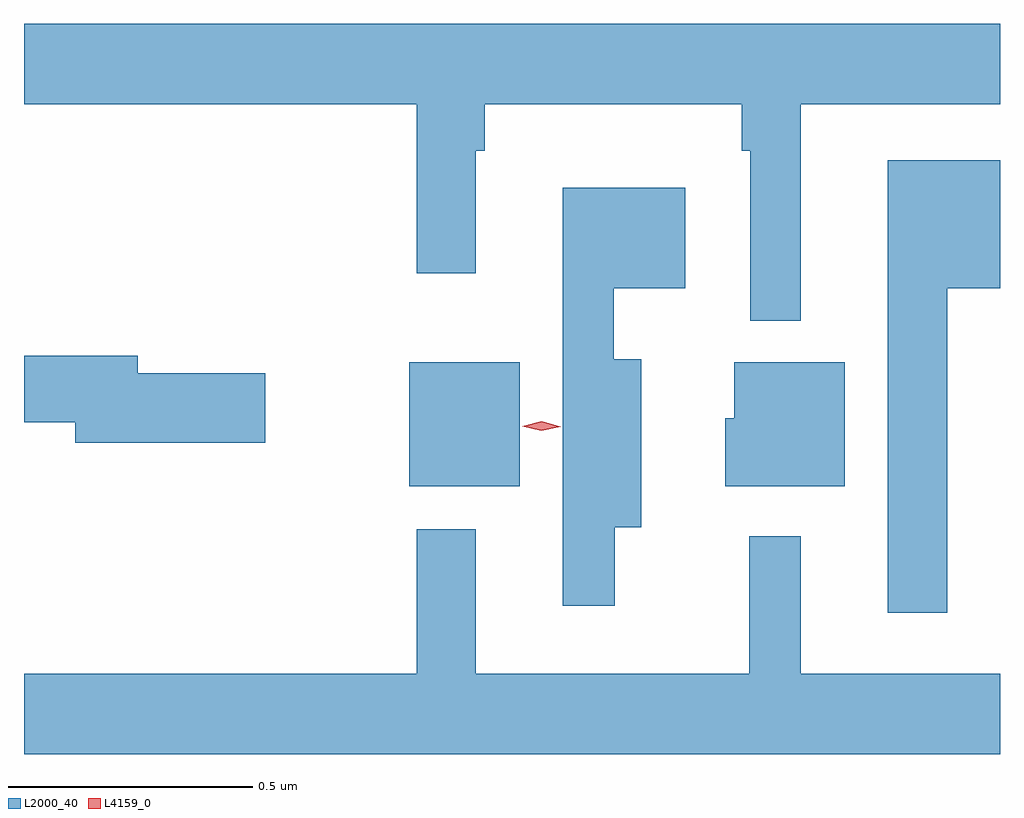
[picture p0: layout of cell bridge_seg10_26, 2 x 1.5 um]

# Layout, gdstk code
import gdstk
lib = gdstk.Library(unit=1e-6, precision=1e-09)
def R(c, l, rs):  # rectangles x0, y0, x1, y1
    for r in rs: c.add(gdstk.rectangle(r[:2], r[2:], *l))
def P(c, l, *ps):  # polygons
    for p in ps: c.add(gdstk.Polygon(p, *l))
L2000_40 = (2000, 40)
L4159_0 = (4159, 0)

bridge_seg10_26 = lib.new_cell('bridge_seg10_26')
R(bridge_seg10_26, L2000_40, [(957.236,1286.213,957.463,1286.467)])
P(bridge_seg10_26, L2000_40, [(958.039,1286.996),(958.447,1286.996),(958.447,1287.16),(956.447,1287.16),(956.447,1286.996),(957.252,1286.996),(957.252,1286.649),(957.373,1286.649),(957.373,1286.9),(957.391,1286.9),(957.391,1286.996),(957.918,1286.996),(957.918,1286.9),(957.935,1286.9),(957.935,1286.552),(958.039,1286.552)],
  [(958.339,1286.618),(958.447,1286.618),(958.447,1286.881),(958.217,1286.881),(958.217,1285.953),(958.339,1285.953)],
  [(957.658,1286.129),(957.712,1286.129),(957.712,1286.473),(957.655,1286.473),(957.655,1286.618),(957.802,1286.618),(957.802,1286.824),(957.551,1286.824),(957.551,1285.968),(957.658,1285.968)],
  [(956.941,1286.444),(956.68,1286.444),(956.68,1286.48),(956.447,1286.48),(956.447,1286.344),(956.552,1286.344),(956.552,1286.302),(956.941,1286.302)],
  [(958.129,1286.467),(957.902,1286.467),(957.902,1286.352),(957.884,1286.352),(957.884,1286.213),(958.129,1286.213)],
  [(958.447,1285.828),(958.039,1285.828),(958.039,1286.11),(957.933,1286.11),(957.933,1285.828),(957.373,1285.828),(957.373,1286.125),(957.252,1286.125),(957.252,1285.828),(956.447,1285.828),(956.447,1285.664),(958.447,1285.664)])
P(bridge_seg10_26, L4159_0, [(957.507,1286.326),(957.468,1286.336),(957.468,1286.336),(957.468,1286.336),(957.508,1286.346),(957.547,1286.335),(957.547,1286.335),(957.547,1286.335)])

lib.write_gds('bridge_seg10_26.gds')
